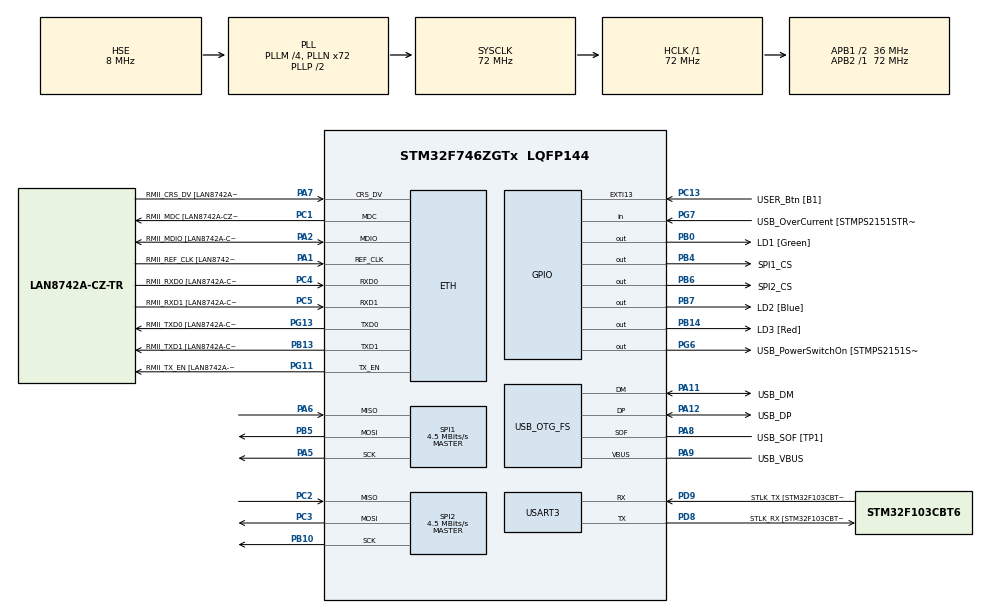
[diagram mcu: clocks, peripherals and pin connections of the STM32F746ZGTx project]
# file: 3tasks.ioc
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ETH.MediaInterface=HAL_ETH_RMII_MODE
ETH.PHY_Name=LAN8742A_PHY_ADDRESS
ETH.PHY_Value=0
ETH.PhyAddress=0
FREERTOS.BinarySemaphores01=myBinarySem,Dynamic,NULL
FREERTOS.Tasks01=Enable,40,128,StartEnable,Default,NULL,Dynamic,NULL,NULL;Init,32,128,StartInit,Default,NULL,Dynamic,NULL,NULL;Test,24,128,StartTest,Default,NULL,Dynamic,NULL,NULL;Update,16,128,StartUpdate,Default,NULL,Dynamic,NULL,NULL
FREERTOS.configUSE_NEWLIB_REENTRANT=1
Mcu.Family=STM32F7
Mcu.Name=STM32F746ZGTx
Mcu.Package=LQFP144
NVIC.PriorityGroup=NVIC_PRIORITYGROUP_4
NVIC.TIM6_DAC_IRQn=true\:15\:0\:false\:false\:true\:false\:false\:true\:true
NVIC.TimeBase=TIM6_DAC_IRQn
NVIC.TimeBaseIP=TIM6
PA1.GPIO_Label=RMII_REF_CLK [LAN8742A-CZ-TR_REFCLK0]
PA1.Mode=RMII
PA1.Signal=ETH_REF_CLK
PA10.GPIO_Label=USB_ID
PA10.Signal=USB_OTG_FS_ID
PA11.GPIO_Label=USB_DM
PA11.Mode=Device_Only
PA11.Signal=USB_OTG_FS_DM
PA12.GPIO_Label=USB_DP
PA12.Mode=Device_Only
PA12.Signal=USB_OTG_FS_DP
PA13.GPIO_Label=TMS
PA13.Mode=Serial_Wire
PA13.Signal=SYS_JTMS-SWDIO
PA14.GPIO_Label=TCK
PA14.Mode=Serial_Wire
PA14.Signal=SYS_JTCK-SWCLK
PA2.GPIO_Label=RMII_MDIO [LAN8742A-CZ-TR_MDIO]
PA2.Mode=RMII
PA2.Signal=ETH_MDIO
PA5.Mode=Full_Duplex_Master
PA5.Signal=SPI1_SCK
PA6.Mode=Full_Duplex_Master
PA6.Signal=SPI1_MISO
PA7.GPIO_Label=RMII_CRS_DV [LAN8742A-CZ-TR_CRS_DV]
PA7.Mode=RMII
PA7.Signal=ETH_CRS_DV
PA8.GPIO_Label=USB_SOF [TP1]
PA8.Mode=Activate_SOF_FS
PA8.Signal=USB_OTG_FS_SOF
PA9.GPIO_Label=USB_VBUS
PA9.Mode=Activate_VBUS
PA9.Signal=USB_OTG_FS_VBUS
PB0.GPIO_Label=LD1 [Green]
PB0.Signal=GPIO_Output
PB10.Mode=Full_Duplex_Master
PB10.Signal=SPI2_SCK
PB13.GPIO_Label=RMII_TXD1 [LAN8742A-CZ-TR_TXD1]
PB13.Mode=RMII
PB13.Signal=ETH_TXD1
PB14.GPIO_Label=LD3 [Red]
PB14.Signal=GPIO_Output
PB3.GPIO_Label=SW0
PB3.Signal=SYS_JTDO-SWO
PB4.GPIO_Label=SPI1_CS
PB4.Signal=GPIO_Output
PB5.Mode=Full_Duplex_Master
PB5.Signal=SPI1_MOSI
PB6.GPIO_Label=SPI2_CS
PB6.Signal=GPIO_Output
PB7.GPIO_Label=LD2 [Blue]
PB7.Signal=GPIO_Output
PC1.GPIO_Label=RMII_MDC [LAN8742A-CZ-TR_MDC]
PC1.Mode=RMII
PC1.Signal=ETH_MDC
PC13.GPIO_Label=USER_Btn [B1]
PC13.Signal=GPXTI13
PC14/OSC32_IN.Mode=LSE-External-Oscillator
PC14/OSC32_IN.Signal=RCC_OSC32_IN
PC15/OSC32_OUT.Mode=LSE-External-Oscillator
PC15/OSC32_OUT.Signal=RCC_OSC32_OUT
PC2.Mode=Full_Duplex_Master
PC2.Signal=SPI2_MISO
PC3.Mode=Full_Duplex_Master
PC3.Signal=SPI2_MOSI
PC4.GPIO_Label=RMII_RXD0 [LAN8742A-CZ-TR_RXD0]
PC4.Mode=RMII
PC4.Signal=ETH_RXD0
PC5.GPIO_Label=RMII_RXD1 [LAN8742A-CZ-TR_RXD1]
PC5.Mode=RMII
PC5.Signal=ETH_RXD1
PD8.GPIO_Label=STLK_RX [STM32F103CBT6_PA3]
PD8.GPIO_PuPd=GPIO_PULLUP
PD8.Mode=Asynchronous
PD8.Signal=USART3_TX
PD9.GPIO_Label=STLK_TX [STM32F103CBT6_PA2]
PD9.GPIO_PuPd=GPIO_PULLUP
PD9.Mode=Asynchronous
PD9.Signal=USART3_RX
PG11.GPIO_Label=RMII_TX_EN [LAN8742A-CZ-TR_TXEN]
PG11.Mode=RMII
PG11.Signal=ETH_TX_EN
PG13.GPIO_Label=RMII_TXD0 [LAN8742A-CZ-TR_TXD0]
PG13.Mode=RMII
PG13.Signal=ETH_TXD0
PG6.GPIO_Label=USB_PowerSwitchOn [STMPS2151STR_EN]
PG6.Signal=GPIO_Output
PG7.GPIO_Label=USB_OverCurrent [STMPS2151STR_FAULT]
PG7.Signal=GPIO_Input
PH0/OSC_IN.GPIO_Label=MCO [STM32F103CBT6_PA8]
PH0/OSC_IN.Mode=HSE-External-Clock-Source
PH0/OSC_IN.Signal=RCC_OSC_IN
PH1/OSC_OUT.Mode=HSE-External-Clock-Source
PH1/OSC_OUT.Signal=RCC_OSC_OUT
ProjectManager.HeapSize=0x200
ProjectManager.StackSize=0x400
ProjectManager.TargetToolchain=STM32CubeIDE
RCC.48MHZClocksFreq_Value=24000000
RCC.AHBFreq_Value=72000000
RCC.APB1CLKDivider=RCC_HCLK_DIV2
RCC.APB1Freq_Value=36000000
RCC.APB1TimFreq_Value=72000000
RCC.APB2Freq_Value=72000000
RCC.APB2TimFreq_Value=72000000
RCC.CortexFreq_Value=72000000
RCC.HCLKFreq_Value=72000000
RCC.HSE_VALUE=8000000
RCC.HSI_VALUE=16000000
RCC.PLLM=4
RCC.PLLMUL=RCC_PLL_MUL9
RCC.PLLN=72
RCC.PLLQ=3
RCC.PRESCALERUSB=RCC_USBCLKSOURCE_PLL_DIV1_5
RCC.SYSCLKFreq_VALUE=72000000
RCC.SYSCLKSource=RCC_SYSCLKSOURCE_PLLCLK
RCC.SYSCLKSourceVirtual=RCC_SYSCLKSOURCE_PLLCLK
RCC.USBFreq_Value=48000000
RCC.VCOOutputFreq_Value=144000000
SPI1.BaudRatePrescaler=SPI_BAUDRATEPRESCALER_16
SPI1.CalculateBaudRate=4.5 MBits/s
SPI1.DataSize=SPI_DATASIZE_8BIT
SPI1.Direction=SPI_DIRECTION_2LINES
SPI1.Mode=SPI_MODE_MASTER
SPI1.NSSPMode=SPI_NSS_PULSE_DISABLE
SPI1.VirtualType=VM_MASTER
SPI2.BaudRatePrescaler=SPI_BAUDRATEPRESCALER_8
SPI2.CalculateBaudRate=4.5 MBits/s
SPI2.DataSize=SPI_DATASIZE_8BIT
SPI2.Direction=SPI_DIRECTION_2LINES
SPI2.Mode=SPI_MODE_MASTER
SPI2.NSSPMode=SPI_NSS_PULSE_DISABLE
SPI2.VirtualType=VM_MASTER
USART3.VirtualMode-Asynchronous=VM_ASYNC
USB_OTG_FS.VirtualMode=Device_Only
VP_FREERTOS_VS_CMSIS_V2.Mode=CMSIS_V2
VP_SYS_VS_tim6.Mode=TIM6
board=NUCLEO-F746ZG

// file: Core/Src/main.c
/* USER CODE BEGIN Header */
/**
  ******************************************************************************
  * @file           : main.c
  * @brief          : Main program body
  ******************************************************************************
  * @attention
  *
  * Copyright (c) 2023 STMicroelectronics.
  * All rights reserved.
  *
  * This software is licensed under terms that can be found in the LICENSE file
  * in the root directory of this software component.
  * If no LICENSE file comes with this software, it is provided AS-IS.
  *
  ******************************************************************************
  */
/* USER CODE END Header */
#include "main.h"
#include "string.h"
#include "cmsis_os.h"

/* USER CODE BEGIN PD */
//Creating a structure to specify the SPI communication with MAX7301 will be 2 byte. One is the register address and the second is the data send to the MAX7301
typedef struct
{
	uint8_t address;
	uint8_t value;
} ConfigParam_t;

//Creating a structure to hold the state of each antenna
typedef struct
{
	uint8_t antEnable;
}ConfigAnt;
/* USER CODE END PD */

#if defined ( __ICCARM__ ) /*!< IAR Compiler */
#pragma location=0x2004c000
ETH_DMADescTypeDef  DMARxDscrTab[ETH_RX_DESC_CNT]; /* Ethernet Rx DMA Descriptors */
#pragma location=0x2004c0a0
ETH_DMADescTypeDef  DMATxDscrTab[ETH_TX_DESC_CNT]; /* Ethernet Tx DMA Descriptors */

#elif defined ( __CC_ARM )  /* MDK ARM Compiler */

__attribute__((at(0x2004c000))) ETH_DMADescTypeDef  DMARxDscrTab[ETH_RX_DESC_CNT]; /* Ethernet Rx DMA Descriptors */
__attribute__((at(0x2004c0a0))) ETH_DMADescTypeDef  DMATxDscrTab[ETH_TX_DESC_CNT]; /* Ethernet Tx DMA Descriptors */

#elif defined ( __GNUC__ ) /* GNU Compiler */
ETH_DMADescTypeDef DMARxDscrTab[ETH_RX_DESC_CNT] __attribute__((section(".RxDecripSection"))); /* Ethernet Rx DMA Descriptors */
ETH_DMADescTypeDef DMATxDscrTab[ETH_TX_DESC_CNT] __attribute__((section(".TxDecripSection")));   /* Ethernet Tx DMA Descriptors */

#endif

ETH_TxPacketConfig TxConfig;

ETH_HandleTypeDef heth;

SPI_HandleTypeDef hspi1;
SPI_HandleTypeDef hspi2;

UART_HandleTypeDef huart3;

PCD_HandleTypeDef hpcd_USB_OTG_FS;

/* Definitions for Enable */
osThreadId_t EnableHandle;
const osThreadAttr_t Enable_attributes = {
  .name = "Enable",
  .stack_size = 128 * 4,
  .priority = (osPriority_t) osPriorityHigh,
};
/* Definitions for Init */
osThreadId_t InitHandle;
const osThreadAttr_t Init_attributes = {
  .name = "Init",
  .stack_size = 128 * 4,
  .priority = (osPriority_t) osPriorityAboveNormal,
};
/* Definitions for Test */
osThreadId_t TestHandle;
const osThreadAttr_t Test_attributes = {
  .name = "Test",
  .stack_size = 128 * 4,
  .priority = (osPriority_t) osPriorityNormal,
};
/* Definitions for Update */
osThreadId_t UpdateHandle;
const osThreadAttr_t Update_attributes = {
  .name = "Update",
  .stack_size = 128 * 4,
  .priority = (osPriority_t) osPriorityBelowNormal,
};
/* Definitions for myBinarySem */
osSemaphoreId_t myBinarySemHandle;
const osSemaphoreAttr_t myBinarySem_attributes = {
  .name = "myBinarySem"
};
/* USER CODE BEGIN PV */
//Declaration of an array with enable value for 2 daisy chained MAX7301
static const ConfigParam_t arrayConfig[] = {{.address = 0x04, .value = 0x01},
											{.address = 0x04, .value = 0x01}};

//Declaration of an array with the initialization parameters. Port P4 to P27 set has output.
static const ConfigParam_t arrayInitialize[] = {{.address = 0x09, .value = 0x55},
												{.address = 0x0A, .value = 0x55},
												{.address = 0x0B, .value = 0x55},
												{.address = 0x0C, .value = 0x55},
												{.address = 0x0D, .value = 0x55},
												{.address = 0x0E, .value = 0x55}};
//Declaration of each antenna state. Each bit in each byte is to enable one antenna.
//Ex : ConfigRISA[0] control antenna 1 to 8, ConfigRISA[1] control antenna 9 to 17
// ConfigRISA[0].antEnable = 0000 0001 -> enable antenna 1 				and disable all others from this byte
// ConfigRISA[3].antEnable = 1000 1001 -> enable antenna 27, 30 and 34	and disable all others from this byte
static ConfigAnt ConfigRISA[] = 	{{.antEnable = 0xFF},		// [0] Antenna 1 	to 8
										 {.antEnable = 0xFF},		// [1] Antenna 9	to 16
										 {.antEnable = 0xFF},		// [2] Antenna 17 	to 24
										 {.antEnable = 0xFF},		// [3] Antenna 25 	to 32
										 {.antEnable = 0xFF},		// [4] Antenna 33 	to 40
										 {.antEnable = 0xFF}};		// [5] Antenna 41 	to 48

static ConfigAnt ConfigRISB[] = 	{{.antEnable = 0xFF},		// [0] Antenna 1 	to 8
										 {.antEnable = 0xFF},		// [1] Antenna 9	to 16
										 {.antEnable = 0xFF},		// [2] Antenna 17 	to 24
										 {.antEnable = 0xFF},		// [3] Antenna 25 	to 32
										 {.antEnable = 0xFF},		// [4] Antenna 33 	to 40
										 {.antEnable = 0xFF}};		// [5] Antenna 41 	to 48
/* USER CODE END PV */

void SystemClock_Config(void);
static void MX_GPIO_Init(void);
static void MX_ETH_Init(void);
static void MX_USART3_UART_Init(void);
static void MX_USB_OTG_FS_PCD_Init(void);
static void MX_SPI1_Init(void);
static void MX_SPI2_Init(void);
void StartEnable(void *argument);
void StartInit(void *argument);
void StartTest(void *argument);
void StartUpdate(void *argument);

int main(void)
{

  /* MCU Configuration--------------------------------------------------------*/

  /* Reset of all peripherals, Initializes the Flash interface and the Systick. */
  HAL_Init();

  /* Configure the system clock */
  SystemClock_Config();

  /* Initialize all configured peripherals */
  MX_GPIO_Init();
  MX_ETH_Init();
  MX_USART3_UART_Init();
  MX_USB_OTG_FS_PCD_Init();
  MX_SPI1_Init();
  MX_SPI2_Init();
  /* USER CODE BEGIN 2 */
  HAL_GPIO_WritePin(GPIOB,GPIO_PIN_4,GPIO_PIN_SET);
  HAL_GPIO_WritePin(GPIOB,GPIO_PIN_6,GPIO_PIN_SET);
  /* USER CODE END 2 */

  /* Init scheduler */
  osKernelInitialize();

  /* Create the semaphores(s) */
  /* creation of myBinarySem */
  myBinarySemHandle = osSemaphoreNew(1, 1, &myBinarySem_attributes);

  /* Create the thread(s) */
  /* creation of Enable */
  EnableHandle = osThreadNew(StartEnable, NULL, &Enable_attributes);

  /* creation of Init */
  InitHandle = osThreadNew(StartInit, NULL, &Init_attributes);

  /* creation of Test */
  TestHandle = osThreadNew(StartTest, NULL, &Test_attributes);

  /* creation of Update */
  UpdateHandle = osThreadNew(StartUpdate, NULL, &Update_attributes);

  /* Start scheduler */
  osKernelStart();
  /* We should never get here as control is now taken by the scheduler */
  /* Infinite loop */
  while (1)
  {

  }
}

void SystemClock_Config(void)
{
  RCC_OscInitTypeDef RCC_OscInitStruct = {0};
  RCC_ClkInitTypeDef RCC_ClkInitStruct = {0};

  /** Configure LSE Drive Capability
  */
  HAL_PWR_EnableBkUpAccess();

  /** Configure the main internal regulator output voltage
  */
  __HAL_RCC_PWR_CLK_ENABLE();
  __HAL_PWR_VOLTAGESCALING_CONFIG(PWR_REGULATOR_VOLTAGE_SCALE3);

  /** Initializes the RCC Oscillators according to the specified parameters
  * in the RCC_OscInitTypeDef structure.
  */
  RCC_OscInitStruct.OscillatorType = RCC_OSCILLATORTYPE_HSE;
  RCC_OscInitStruct.HSEState = RCC_HSE_BYPASS;
  RCC_OscInitStruct.PLL.PLLState = RCC_PLL_ON;
  RCC_OscInitStruct.PLL.PLLSource = RCC_PLLSOURCE_HSE;
  RCC_OscInitStruct.PLL.PLLM = 4;
  RCC_OscInitStruct.PLL.PLLN = 72;
  RCC_OscInitStruct.PLL.PLLP = RCC_PLLP_DIV2;
  RCC_OscInitStruct.PLL.PLLQ = 3;
  if (HAL_RCC_OscConfig(&RCC_OscInitStruct) != HAL_OK)
  {
    Error_Handler();
  }

  /** Initializes the CPU, AHB and APB buses clocks
  */
  RCC_ClkInitStruct.ClockType = RCC_CLOCKTYPE_HCLK|RCC_CLOCKTYPE_SYSCLK
                              |RCC_CLOCKTYPE_PCLK1|RCC_CLOCKTYPE_PCLK2;
  RCC_ClkInitStruct.SYSCLKSource = RCC_SYSCLKSOURCE_PLLCLK;
  RCC_ClkInitStruct.AHBCLKDivider = RCC_SYSCLK_DIV1;
  RCC_ClkInitStruct.APB1CLKDivider = RCC_HCLK_DIV2;
  RCC_ClkInitStruct.APB2CLKDivider = RCC_HCLK_DIV1;

  if (HAL_RCC_ClockConfig(&RCC_ClkInitStruct, FLASH_LATENCY_2) != HAL_OK)
  {
    Error_Handler();
  }
}

static void MX_ETH_Init(void)
{

   static uint8_t MACAddr[6];

  heth.Instance = ETH;
  MACAddr[0] = 0x00;
  MACAddr[1] = 0x80;
  MACAddr[2] = 0xE1;
  MACAddr[3] = 0x00;
  MACAddr[4] = 0x00;
  MACAddr[5] = 0x00;
  heth.Init.MACAddr = &MACAddr[0];
  heth.Init.MediaInterface = HAL_ETH_RMII_MODE;
  heth.Init.TxDesc = DMATxDscrTab;
  heth.Init.RxDesc = DMARxDscrTab;
  heth.Init.RxBuffLen = 1524;

  if (HAL_ETH_Init(&heth) != HAL_OK)
  {
    Error_Handler();
  }

  memset(&TxConfig, 0 , sizeof(ETH_TxPacketConfig));
  TxConfig.Attributes = ETH_TX_PACKETS_FEATURES_CSUM | ETH_TX_PACKETS_FEATURES_CRCPAD;
  TxConfig.ChecksumCtrl = ETH_CHECKSUM_IPHDR_PAYLOAD_INSERT_PHDR_CALC;
  TxConfig.CRCPadCtrl = ETH_CRC_PAD_INSERT;
}

static void MX_SPI1_Init(void)
{

  /* SPI1 parameter configuration*/
  hspi1.Instance = SPI1;
  hspi1.Init.Mode = SPI_MODE_MASTER;
  hspi1.Init.Direction = SPI_DIRECTION_2LINES;
  hspi1.Init.DataSize = SPI_DATASIZE_8BIT;
  hspi1.Init.CLKPolarity = SPI_POLARITY_LOW;
  hspi1.Init.CLKPhase = SPI_PHASE_1EDGE;
  hspi1.Init.NSS = SPI_NSS_SOFT;
  hspi1.Init.BaudRatePrescaler = SPI_BAUDRATEPRESCALER_16;
  hspi1.Init.FirstBit = SPI_FIRSTBIT_MSB;
  hspi1.Init.TIMode = SPI_TIMODE_DISABLE;
  hspi1.Init.CRCCalculation = SPI_CRCCALCULATION_DISABLE;
  hspi1.Init.CRCPolynomial = 7;
  hspi1.Init.CRCLength = SPI_CRC_LENGTH_DATASIZE;
  hspi1.Init.NSSPMode = SPI_NSS_PULSE_DISABLE;
  if (HAL_SPI_Init(&hspi1) != HAL_OK)
  {
    Error_Handler();
  }

}

static void MX_SPI2_Init(void)
{

  /* SPI2 parameter configuration*/
  hspi2.Instance = SPI2;
  hspi2.Init.Mode = SPI_MODE_MASTER;
  hspi2.Init.Direction = SPI_DIRECTION_2LINES;
  hspi2.Init.DataSize = SPI_DATASIZE_8BIT;
  hspi2.Init.CLKPolarity = SPI_POLARITY_LOW;
  hspi2.Init.CLKPhase = SPI_PHASE_1EDGE;
  hspi2.Init.NSS = SPI_NSS_SOFT;
  hspi2.Init.BaudRatePrescaler = SPI_BAUDRATEPRESCALER_8;
  hspi2.Init.FirstBit = SPI_FIRSTBIT_MSB;
  hspi2.Init.TIMode = SPI_TIMODE_DISABLE;
  hspi2.Init.CRCCalculation = SPI_CRCCALCULATION_DISABLE;
  hspi2.Init.CRCPolynomial = 7;
  hspi2.Init.CRCLength = SPI_CRC_LENGTH_DATASIZE;
  hspi2.Init.NSSPMode = SPI_NSS_PULSE_DISABLE;
  if (HAL_SPI_Init(&hspi2) != HAL_OK)
  {
    Error_Handler();
  }

}

static void MX_USART3_UART_Init(void)
{

  huart3.Instance = USART3;
  huart3.Init.BaudRate = 115200;
  huart3.Init.WordLength = UART_WORDLENGTH_8B;
  huart3.Init.StopBits = UART_STOPBITS_1;
  huart3.Init.Parity = UART_PARITY_NONE;
  huart3.Init.Mode = UART_MODE_TX_RX;
  huart3.Init.HwFlowCtl = UART_HWCONTROL_NONE;
  huart3.Init.OverSampling = UART_OVERSAMPLING_16;
  huart3.Init.OneBitSampling = UART_ONE_BIT_SAMPLE_DISABLE;
  huart3.AdvancedInit.AdvFeatureInit = UART_ADVFEATURE_NO_INIT;
  if (HAL_UART_Init(&huart3) != HAL_OK)
  {
    Error_Handler();
  }

}

static void MX_USB_OTG_FS_PCD_Init(void)
{

  hpcd_USB_OTG_FS.Instance = USB_OTG_FS;
  hpcd_USB_OTG_FS.Init.dev_endpoints = 6;
  hpcd_USB_OTG_FS.Init.speed = PCD_SPEED_FULL;
  hpcd_USB_OTG_FS.Init.dma_enable = DISABLE;
  hpcd_USB_OTG_FS.Init.phy_itface = PCD_PHY_EMBEDDED;
  hpcd_USB_OTG_FS.Init.Sof_enable = ENABLE;
  hpcd_USB_OTG_FS.Init.low_power_enable = DISABLE;
  hpcd_USB_OTG_FS.Init.lpm_enable = DISABLE;
  hpcd_USB_OTG_FS.Init.vbus_sensing_enable = ENABLE;
  hpcd_USB_OTG_FS.Init.use_dedicated_ep1 = DISABLE;
  if (HAL_PCD_Init(&hpcd_USB_OTG_FS) != HAL_OK)
  {
    Error_Handler();
  }

}

static void MX_GPIO_Init(void)
{
  GPIO_InitTypeDef GPIO_InitStruct = {0};

  /* GPIO Ports Clock Enable */
  __HAL_RCC_GPIOC_CLK_ENABLE();
  __HAL_RCC_GPIOH_CLK_ENABLE();
  __HAL_RCC_GPIOA_CLK_ENABLE();
  __HAL_RCC_GPIOB_CLK_ENABLE();
  __HAL_RCC_GPIOD_CLK_ENABLE();
  __HAL_RCC_GPIOG_CLK_ENABLE();

  /*Configure GPIO pin Output Level */
  HAL_GPIO_WritePin(GPIOB, LD1_Pin|LD3_Pin|SPI1_CS_Pin|SPI2_CS_Pin
                          |LD2_Pin, GPIO_PIN_RESET);

  /*Configure GPIO pin Output Level */
  HAL_GPIO_WritePin(USB_PowerSwitchOn_GPIO_Port, USB_PowerSwitchOn_Pin, GPIO_PIN_RESET);

  /*Configure GPIO pin : USER_Btn_Pin */
  GPIO_InitStruct.Pin = USER_Btn_Pin;
  GPIO_InitStruct.Mode = GPIO_MODE_IT_RISING;
  GPIO_InitStruct.Pull = GPIO_NOPULL;
  HAL_GPIO_Init(USER_Btn_GPIO_Port, &GPIO_InitStruct);

  /*Configure GPIO pins : LD1_Pin LD3_Pin SPI1_CS_Pin SPI2_CS_Pin
                           LD2_Pin */
  GPIO_InitStruct.Pin = LD1_Pin|LD3_Pin|SPI1_CS_Pin|SPI2_CS_Pin
                          |LD2_Pin;
  GPIO_InitStruct.Mode = GPIO_MODE_OUTPUT_PP;
  GPIO_InitStruct.Pull = GPIO_NOPULL;
  GPIO_InitStruct.Speed = GPIO_SPEED_FREQ_LOW;
  HAL_GPIO_Init(GPIOB, &GPIO_InitStruct);

  /*Configure GPIO pin : USB_PowerSwitchOn_Pin */
  GPIO_InitStruct.Pin = USB_PowerSwitchOn_Pin;
  GPIO_InitStruct.Mode = GPIO_MODE_OUTPUT_PP;
  GPIO_InitStruct.Pull = GPIO_NOPULL;
  GPIO_InitStruct.Speed = GPIO_SPEED_FREQ_LOW;
  HAL_GPIO_Init(USB_PowerSwitchOn_GPIO_Port, &GPIO_InitStruct);

  /*Configure GPIO pin : USB_OverCurrent_Pin */
  GPIO_InitStruct.Pin = USB_OverCurrent_Pin;
  GPIO_InitStruct.Mode = GPIO_MODE_INPUT;
  GPIO_InitStruct.Pull = GPIO_NOPULL;
  HAL_GPIO_Init(USB_OverCurrent_GPIO_Port, &GPIO_InitStruct);

}

void StartEnable(void *argument)
{
  /* USER CODE BEGIN 5 */
	// CS_LOW
	HAL_GPIO_WritePin(GPIOB,GPIO_PIN_4,GPIO_PIN_RESET);
	HAL_GPIO_WritePin(GPIOB,GPIO_PIN_6,GPIO_PIN_RESET);
	// RISA
	HAL_SPI_Transmit(&hspi1, (uint8_t *)&arrayConfig[0].address, 1, 10);
	HAL_SPI_Transmit(&hspi1, (uint8_t *)&arrayConfig[0].value, 1, 10);
	HAL_SPI_Transmit(&hspi1, (uint8_t *)&arrayConfig[1].address, 1, 10);
	HAL_SPI_Transmit(&hspi1, (uint8_t *)&arrayConfig[1].value, 1, 10);
	// RISB
	HAL_SPI_Transmit(&hspi2, (uint8_t *)&arrayConfig[0].address, 1, 10);
	HAL_SPI_Transmit(&hspi2, (uint8_t *)&arrayConfig[0].value, 1, 10);
	HAL_SPI_Transmit(&hspi2, (uint8_t *)&arrayConfig[1].address, 1, 10);
	HAL_SPI_Transmit(&hspi2, (uint8_t *)&arrayConfig[1].value, 1, 10);
	// CS_HIGHT
	HAL_GPIO_WritePin(GPIOB,GPIO_PIN_4,GPIO_PIN_SET);
	HAL_GPIO_WritePin(GPIOB,GPIO_PIN_6,GPIO_PIN_SET);
	uint8_t data[]= "Enable completed\n";
	HAL_UART_Transmit(&huart3, data, sizeof(data),500);
    /* Give semaphore to Task 2 */
	osSemaphoreRelease(myBinarySemHandle);
    /* Delete Task 1 */
    vTaskDelete(EnableHandle);
  /* USER CODE END 5 */
}

void StartInit(void *argument)
{
  /* USER CODE BEGIN StartInit */
    /* Wait for semaphore from Task 1 */
	osSemaphoreAcquire(myBinarySemHandle, osWaitForever);
	uint8_t i = 0;
	uint8_t data[]= "Init completed\n";
	for(i = 0; i < 6;i++)
	{
	// CS_LOW
	HAL_GPIO_WritePin(GPIOB,GPIO_PIN_4,GPIO_PIN_RESET);
	HAL_GPIO_WritePin(GPIOB,GPIO_PIN_6,GPIO_PIN_RESET);
	// RISA
	HAL_SPI_Transmit(&hspi1, (uint8_t *)&arrayInitialize[i].address, 1, 10);
	HAL_SPI_Transmit(&hspi1, (uint8_t *)&arrayInitialize[i].value, 1, 10);
	HAL_SPI_Transmit(&hspi1, (uint8_t *)&arrayInitialize[i].address, 1, 10);
	HAL_SPI_Transmit(&hspi1, (uint8_t *)&arrayInitialize[i].value, 1, 10);
	// RISB
	HAL_SPI_Transmit(&hspi2, (uint8_t *)&arrayInitialize[i].address, 1, 10);
	HAL_SPI_Transmit(&hspi2, (uint8_t *)&arrayInitialize[i].value, 1, 10);
	HAL_SPI_Transmit(&hspi2, (uint8_t *)&arrayInitialize[i].address, 1, 10);
	HAL_SPI_Transmit(&hspi2, (uint8_t *)&arrayInitialize[i].value, 1, 10);
	// CS_HIGHT
	HAL_GPIO_WritePin(GPIOB,GPIO_PIN_4,GPIO_PIN_SET);
	HAL_GPIO_WritePin(GPIOB,GPIO_PIN_6,GPIO_PIN_SET);
	HAL_UART_Transmit(&huart3, data, sizeof(data),500);
	}
    /* Give semaphore to Task 3 */
	osSemaphoreRelease(myBinarySemHandle);
    /* Delete Task 2 */
    vTaskDelete(InitHandle);
  /* USER CODE END StartInit */
}

void StartTest(void *argument)
{
  /* USER CODE BEGIN StartTest */
  /* Wait for semaphore from Task 2 */
	osSemaphoreAcquire(myBinarySemHandle, osWaitForever);
	uint8_t buffer[] = {0x24, 0x01};
	uint8_t i = 0;
	for(i = 0; i < 25; i++)
	{
		buffer[0] = 0x24 + i;
		buffer[1] = 0x01;
		HAL_GPIO_WritePin(GPIOB,GPIO_PIN_4,GPIO_PIN_RESET);
		HAL_GPIO_WritePin(GPIOB,GPIO_PIN_6,GPIO_PIN_RESET);

		HAL_SPI_Transmit(&hspi1, (uint8_t *)&buffer, 2, 10);
		HAL_SPI_Transmit(&hspi1, (uint8_t *)&buffer, 2, 10);

		HAL_SPI_Transmit(&hspi2, (uint8_t *)&buffer, 2, 10);
		HAL_SPI_Transmit(&hspi2, (uint8_t *)&buffer, 2, 10);

		HAL_GPIO_WritePin(GPIOB,GPIO_PIN_4,GPIO_PIN_SET);
		HAL_GPIO_WritePin(GPIOB,GPIO_PIN_6,GPIO_PIN_SET);
		vTaskDelay(100);
		//HAL_Delay(100);
		buffer[1] = 0x00;
		HAL_GPIO_WritePin(GPIOB,GPIO_PIN_4,GPIO_PIN_RESET);
		HAL_GPIO_WritePin(GPIOB,GPIO_PIN_6,GPIO_PIN_RESET);

		HAL_SPI_Transmit(&hspi1, (uint8_t *)&buffer, 2, 10);
		HAL_SPI_Transmit(&hspi1, (uint8_t *)&buffer, 2, 10);

		HAL_SPI_Transmit(&hspi2, (uint8_t *)&buffer, 2, 10);
		HAL_SPI_Transmit(&hspi2, (uint8_t *)&buffer, 2, 10);

		HAL_GPIO_WritePin(GPIOB,GPIO_PIN_4,GPIO_PIN_SET);
		HAL_GPIO_WritePin(GPIOB,GPIO_PIN_6,GPIO_PIN_SET);

		uint8_t data[]= "Test completed\n";
		HAL_UART_Transmit(&huart3, data, sizeof(data),500);
	}

  /* Delay for a longer period of time to simulate a longer execution time */
 // vTaskDelay(pdMS_TO_TICKS(5000));
  osSemaphoreRelease(myBinarySemHandle);
  /* Delete Task 3 */
  vTaskDelete(TestHandle);
  /* USER CODE END StartTest */
}

void StartUpdate(void *argument)
{
  /* USER CODE BEGIN StartUpdate */
  /* Infinite loop */
  for(;;)
  {       osSemaphoreAcquire(myBinarySemHandle, osWaitForever);
		//This part Configure 8 antenna (P4 to P11 on each MAX7301)
		uint8_t bufferRISA1[2] = {0x44, ConfigRISA[0].antEnable};
		uint8_t bufferRISA2[2] = {0x44, ConfigRISA[3].antEnable};

		uint8_t bufferRISB1[2] = {0x44, ConfigRISB[0].antEnable};
		uint8_t bufferRISB2[2] = {0x44, ConfigRISB[3].antEnable};

		HAL_GPIO_WritePin(GPIOB,GPIO_PIN_4,GPIO_PIN_RESET);
		HAL_GPIO_WritePin(GPIOB,GPIO_PIN_6,GPIO_PIN_RESET);

		HAL_SPI_Transmit(&hspi1, (uint8_t *)&bufferRISA2, 2, 10);
		HAL_SPI_Transmit(&hspi1, (uint8_t *)&bufferRISA1, 2, 10);

		HAL_SPI_Transmit(&hspi2, (uint8_t *)&bufferRISB2, 2, 10);
		HAL_SPI_Transmit(&hspi2, (uint8_t *)&bufferRISB1, 2, 10);

		HAL_GPIO_WritePin(GPIOB,GPIO_PIN_4,GPIO_PIN_SET);
		HAL_GPIO_WritePin(GPIOB,GPIO_PIN_6,GPIO_PIN_SET);

		//This part Configure 8 antenna (P12 to P19 on each MAX7301)
		bufferRISA1[0] = 0x4C;
		bufferRISA1[1] = ConfigRISA[1].antEnable;
		bufferRISA2[0] = 0x4C;
		bufferRISA2[1] = ConfigRISA[4].antEnable;

		bufferRISB1[0] = 0x4C;
		bufferRISB1[1] = ConfigRISB[1].antEnable;
		bufferRISB2[0] = 0x4C;
		bufferRISB2[1] = ConfigRISB[4].antEnable;

		HAL_GPIO_WritePin(GPIOB,GPIO_PIN_4,GPIO_PIN_RESET);
		HAL_GPIO_WritePin(GPIOB,GPIO_PIN_6,GPIO_PIN_RESET);

		HAL_SPI_Transmit(&hspi1, (uint8_t *)&bufferRISA2, 2, 10);
		HAL_SPI_Transmit(&hspi1, (uint8_t *)&bufferRISA1, 2, 10);

		HAL_SPI_Transmit(&hspi2, (uint8_t *)&bufferRISB2, 2, 10);
		HAL_SPI_Transmit(&hspi2, (uint8_t *)&bufferRISB1, 2, 10);

		HAL_GPIO_WritePin(GPIOB,GPIO_PIN_4,GPIO_PIN_SET);
		HAL_GPIO_WritePin(GPIOB,GPIO_PIN_6,GPIO_PIN_SET);

		//This part Configure 8 antenna (P20 to P27 on each MAX7301)
		bufferRISA1[0] = 0x54;
		bufferRISA1[1] = ConfigRISA[2].antEnable;
		bufferRISA2[0] = 0x54;
		bufferRISA2[1] = ConfigRISA[5].antEnable;

		bufferRISB1[0] = 0x54;
		bufferRISB1[1] = ConfigRISB[2].antEnable;
		bufferRISB2[0] = 0x54;
		bufferRISB2[1] = ConfigRISB[5].antEnable;

		HAL_GPIO_WritePin(GPIOB,GPIO_PIN_4,GPIO_PIN_RESET);
		HAL_GPIO_WritePin(GPIOB,GPIO_PIN_6,GPIO_PIN_RESET);

		HAL_SPI_Transmit(&hspi1, (uint8_t *)&bufferRISA2, 2, 10);
		HAL_SPI_Transmit(&hspi1, (uint8_t *)&bufferRISA1, 2, 10);

		HAL_SPI_Transmit(&hspi2, (uint8_t *)&bufferRISB2, 2, 10);
		HAL_SPI_Transmit(&hspi2, (uint8_t *)&bufferRISB1, 2, 10);

		HAL_GPIO_WritePin(GPIOB,GPIO_PIN_4,GPIO_PIN_SET);
		HAL_GPIO_WritePin(GPIOB,GPIO_PIN_6,GPIO_PIN_SET);

		uint8_t data[]= "Update completed\n";
		HAL_UART_Transmit(&huart3, data, sizeof(data),500);
    //osDelay(5000);
  }
  /* USER CODE END StartUpdate */
}

void HAL_TIM_PeriodElapsedCallback(TIM_HandleTypeDef *htim)
{
  if (htim->Instance == TIM6) {
    HAL_IncTick();
  }
}

void Error_Handler(void)
{
  __disable_irq();
  while (1)
  {
  }
}
